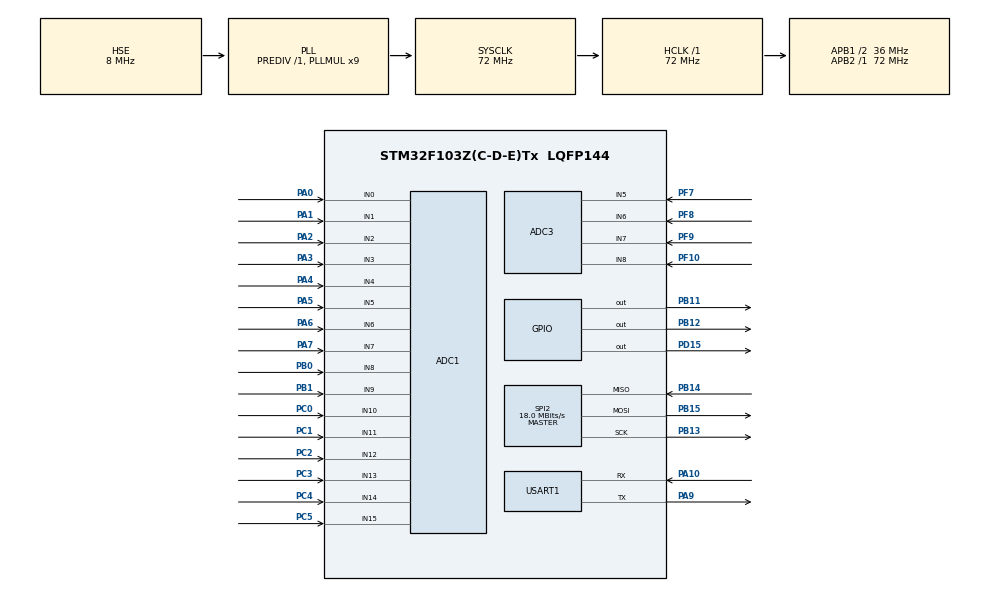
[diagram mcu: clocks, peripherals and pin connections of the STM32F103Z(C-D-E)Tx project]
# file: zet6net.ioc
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Mcu.Family=STM32F1
ADC1.Rank-14\#ChannelRegularConversion=15
Dma.ADC3.0.Priority=DMA_PRIORITY_LOW
Dma.ADC1.1.MemDataAlignment=DMA_MDATAALIGN_BYTE
SPI2.VirtualType=VM_MASTER
ADC1.ContinuousConvMode=ENABLE
ADC3.Channel-3\#ChannelRegularConversion=ADC_CHANNEL_8
SH.ADCx_IN2.0=ADC1_IN2,IN2
ADC1.SamplingTime-6\#ChannelRegularConversion=ADC_SAMPLETIME_1CYCLE_5
PB11.Signal=GPIO_Output
ADC1.SamplingTime-12\#ChannelRegularConversion=ADC_SAMPLETIME_1CYCLE_5
PB13.Signal=SPI2_SCK
PB15.Signal=SPI2_MOSI
ADC3.Channel-0\#ChannelRegularConversion=ADC_CHANNEL_5
ADC1.Channel-14\#ChannelRegularConversion=ADC_CHANNEL_14
ADC1.Channel-8\#ChannelRegularConversion=ADC_CHANNEL_8
ADC3.Rank-2\#ChannelRegularConversion=3
RCC.SYSCLKSource=RCC_SYSCLKSOURCE_PLLCLK
ProjectManager.StackSize=0x400
ADC1.Channel-5\#ChannelRegularConversion=ADC_CHANNEL_5
PF7.Signal=ADC3_IN5
Dma.ADC1.1.Instance=DMA1_Channel1
ADC1.Rank-11\#ChannelRegularConversion=12
ADC1.Channel-3\#ChannelRegularConversion=ADC_CHANNEL_3
RCC.HCLKFreq_Value=72000000
SH.ADCx_IN3.0=ADC1_IN3,IN3
RCC.APB2TimFreq_Value=72000000
Dma.ADC3.0.Direction=DMA_PERIPH_TO_MEMORY
ADC1.Channel-2\#ChannelRegularConversion=ADC_CHANNEL_2
Dma.ADC1.1.PeriphDataAlignment=DMA_PDATAALIGN_HALFWORD
PC3.Signal=ADCx_IN13
OSC_OUT.Mode=HSE-External-Oscillator
Dma.ADC3.0.MemDataAlignment=DMA_MDATAALIGN_BYTE
OSC_OUT.Signal=RCC_OSC_OUT
RCC.AHBFreq_Value=72000000
ADC3.SamplingTime-1\#ChannelRegularConversion=ADC_SAMPLETIME_1CYCLE_5
ADC1.Channel-0\#ChannelRegularConversion=ADC_CHANNEL_0
ADC3.SamplingTime-2\#ChannelRegularConversion=ADC_SAMPLETIME_1CYCLE_5
SH.ADCx_IN15.0=ADC1_IN15,IN15
RCC.PLLMUL=RCC_PLL_MUL9
Dma.ADC3.0.PeriphInc=DMA_PINC_DISABLE
ADC1.SamplingTime-4\#ChannelRegularConversion=ADC_SAMPLETIME_1CYCLE_5
ADC1.Channel-6\#ChannelRegularConversion=ADC_CHANNEL_6
ADC1.Rank-2\#ChannelRegularConversion=3
PF9.Mode=IN7
PA14.Mode=Serial_Wire
PB14.Mode=Full_Duplex_Master
ADC3.ContinuousConvMode=ENABLE
Dma.ADC1.1.Priority=DMA_PRIORITY_LOW
SH.ADCx_IN8.0=ADC1_IN8,IN8
SPI2.CalculateBaudRate=18.0 MBits/s
Dma.ADC3.0.MemInc=DMA_MINC_ENABLE
Dma.ADC1.1.Mode=DMA_CIRCULAR
PF8.Mode=IN6
SH.ADCx_IN0.0=ADC1_IN0,IN0
ADC3.Channel-2\#ChannelRegularConversion=ADC_CHANNEL_7
ADC1.Channel-15\#ChannelRegularConversion=ADC_CHANNEL_15
ADC1.SamplingTime-0\#ChannelRegularConversion=ADC_SAMPLETIME_1CYCLE_5
ADC1.Rank-15\#ChannelRegularConversion=16
Mcu.Package=LQFP144
ADC1.SamplingTime-11\#ChannelRegularConversion=ADC_SAMPLETIME_1CYCLE_5
PB1.Signal=ADCx_IN9
PA6.Signal=ADCx_IN6
SPI2.Mode=SPI_MODE_MASTER
SH.ADCx_IN14.0=ADC1_IN14,IN14
Dma.ADC1.1.Direction=DMA_PERIPH_TO_MEMORY
ADC1.SamplingTime-13\#ChannelRegularConversion=ADC_SAMPLETIME_1CYCLE_5
ADC1.Channel-11\#ChannelRegularConversion=ADC_CHANNEL_11
Dma.ADC1.1.MemInc=DMA_MINC_ENABLE
ADC3.Rank-0\#ChannelRegularConversion=1
PA10.Signal=USART1_RX
PF8.Signal=ADC3_IN6
SH.ADCx_IN9.0=ADC1_IN9,IN9
SH.ADCx_IN1.0=ADC1_IN1,IN1
ADC1.SamplingTime-15\#ChannelRegularConversion=ADC_SAMPLETIME_1CYCLE_5
Dma.Request1=ADC1
RCC.APB1TimFreq_Value=72000000
Dma.ADC3.0.Instance=DMA2_Channel5
SPI2.Direction=SPI_DIRECTION_2LINES
PC5.Signal=ADCx_IN15
PF10.Mode=IN8
PB13.Mode=Full_Duplex_Master
NVIC.DMA2_Channel4_5_IRQn=true\:0\:0\:false\:false\:true\:false\:true
ADC1.Rank-6\#ChannelRegularConversion=7
Dma.Request0=ADC3
ADC1.SamplingTime-8\#ChannelRegularConversion=ADC_SAMPLETIME_1CYCLE_5
PD15.Signal=GPIO_Output
ADC1.Rank-4\#ChannelRegularConversion=5
PA3.Signal=ADCx_IN3
ADC1.Channel-10\#ChannelRegularConversion=ADC_CHANNEL_10
RCC.PLLSourceVirtual=RCC_PLLSOURCE_HSE
ADC3.SamplingTime-3\#ChannelRegularConversion=ADC_SAMPLETIME_1CYCLE_5
SH.ADCx_IN13.0=ADC1_IN13,IN13
ADC1.Rank-0\#ChannelRegularConversion=1
ADC1.Channel-4\#ChannelRegularConversion=ADC_CHANNEL_4
PA10.Mode=Asynchronous
ADC1.Rank-10\#ChannelRegularConversion=11
SH.ADCx_IN6.0=ADC1_IN6,IN6
ADC1.Rank-8\#ChannelRegularConversion=9
PC4.Signal=ADCx_IN14
PC2.Signal=ADCx_IN12
ADC1.Channel-13\#ChannelRegularConversion=ADC_CHANNEL_13
PC0.Signal=ADCx_IN10
ADC3.Rank-3\#ChannelRegularConversion=4
RCC.APB1CLKDivider=RCC_HCLK_DIV2
ADC1.SamplingTime-2\#ChannelRegularConversion=ADC_SAMPLETIME_1CYCLE_5
PA0-WKUP.Signal=ADCx_IN0
ADC1.Channel-7\#ChannelRegularConversion=ADC_CHANNEL_7
RCC.ADCPresc=RCC_ADCPCLK2_DIV6
PA13.Signal=SYS_JTMS-SWDIO
PF7.Mode=IN5
ADC1.Rank-13\#ChannelRegularConversion=14
PA9.Mode=Asynchronous
SH.ADCx_IN12.0=ADC1_IN12,IN12
ADC3.SamplingTime-0\#ChannelRegularConversion=ADC_SAMPLETIME_1CYCLE_5
ProjectManager.TargetToolchain=STM32CubeIDE
SH.ADCx_IN7.0=ADC1_IN7,IN7
PA9.Signal=USART1_TX
ADC1.Channel-1\#ChannelRegularConversion=ADC_CHANNEL_1
OSC_IN.Signal=RCC_OSC_IN
RCC.USBFreq_Value=72000000
ADC3.NbrOfConversion=4
PA1.Signal=ADCx_IN1
PB14.Signal=SPI2_MISO
PA5.Signal=ADCx_IN5
board=custom
ADC1.Rank-12\#ChannelRegularConversion=13
PB15.Mode=Full_Duplex_Master
ADC1.SamplingTime-14\#ChannelRegularConversion=ADC_SAMPLETIME_1CYCLE_5
ADC1.Channel-12\#ChannelRegularConversion=ADC_CHANNEL_12
RCC.APB2Freq_Value=72000000
SH.ADCx_IN11.0=ADC1_IN11,IN11
PF10.Signal=ADC3_IN8
SH.ADCx_IN4.0=ADC1_IN4,IN4
Dma.ADC1.1.PeriphInc=DMA_PINC_DISABLE
ADC1.SamplingTime-10\#ChannelRegularConversion=ADC_SAMPLETIME_1CYCLE_5
ADC1.Rank-9\#ChannelRegularConversion=10
ADC1.NbrOfConversion=16
PA13.Mode=Serial_Wire
Mcu.Name=STM32F103Z(C-D-E)Tx
Dma.ADC3.0.PeriphDataAlignment=DMA_PDATAALIGN_HALFWORD
ADC3.Channel-1\#ChannelRegularConversion=ADC_CHANNEL_6
PA2.Signal=ADCx_IN2
ADC1.Channel-9\#ChannelRegularConversion=ADC_CHANNEL_9
ADC3.Rank-1\#ChannelRegularConversion=2
PA4.Signal=ADCx_IN4
ADC1.SamplingTime-1\#ChannelRegularConversion=ADC_SAMPLETIME_1CYCLE_5
RCC.SYSCLKFreq_VALUE=72000000
ADC1.master=1
ADC1.Rank-3\#ChannelRegularConversion=4
ADC1.SamplingTime-3\#ChannelRegularConversion=ADC_SAMPLETIME_1CYCLE_5
OSC_IN.Mode=HSE-External-Oscillator
USART1.VirtualMode=VM_ASYNC
ADC1.Rank-1\#ChannelRegularConversion=2
PA14.Signal=SYS_JTCK-SWCLK
SH.ADCx_IN10.0=ADC1_IN10,IN10
ProjectManager.HeapSize=0x200
Dma.ADC3.0.Mode=DMA_CIRCULAR
ADC1.SamplingTime-5\#ChannelRegularConversion=ADC_SAMPLETIME_1CYCLE_5
PF9.Signal=ADC3_IN7
SH.ADCx_IN5.0=ADC1_IN5,IN5
ADC1.Rank-7\#ChannelRegularConversion=8
NVIC.PriorityGroup=NVIC_PRIORITYGROUP_4
ADC1.NbrOfConversionFlag=1
ADC1.SamplingTime-9\#ChannelRegularConversion=ADC_SAMPLETIME_1CYCLE_5
ADC1.SamplingTime-7\#ChannelRegularConversion=ADC_SAMPLETIME_1CYCLE_5
NVIC.DMA1_Channel1_IRQn=true\:0\:0\:false\:false\:true\:false\:true
RCC.APB1Freq_Value=36000000
ADC3.NbrOfConversionFlag=1
PB0.Signal=ADCx_IN8
ADC1.Rank-5\#ChannelRegularConversion=6
PC1.Signal=ADCx_IN11
PB12.Signal=GPIO_Output
PA7.Signal=ADCx_IN7

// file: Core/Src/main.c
/* USER CODE BEGIN Header */
/**
  ******************************************************************************
  * @file           : main.c
  * @brief          : Main program body
  ******************************************************************************
  * @attention
  *
  * <h2><center>&copy; Copyright (c) 2020 STMicroelectronics.
  * All rights reserved.</center></h2>
  *
  * This software component is licensed by ST under BSD 3-Clause license,
  * the "License"; You may not use this file except in compliance with the
  * License. You may obtain a copy of the License at:
  *                        opensource.org/licenses/BSD-3-Clause
  *
  ******************************************************************************
  */
/* USER CODE END Header */
#include "main.h"
#include "adc.h"
#include "dma.h"
#include "spi.h"
#include "usart.h"
#include "gpio.h"

/* USER CODE BEGIN Includes */
#include "stdio.h"

//#include "bsp_dht21.h"
#include "stdio.h"
#include "w5500.h"
#include "socket.h"
#include "wizchip_conf.h"
#include "loopback.h"

/* USER CODE END Includes */

/* USER CODE BEGIN PD */

enum
{
  TRANSFER_WAIT,
  TRANSFER_COMPLETE,
  TRANSFER_ERROR
};
/* USER CODE END PD */

/* USER CODE BEGIN PM */
wiz_NetInfo gWIZNETINFO = { .mac = {0x00, 0x01, 0x02, 0x03, 0x04, 0x05},
                            .ip = {192, 168, 1, 88},
                            .sn = {255, 255, 255, 0},
                            .gw = {192, 168, 1, 1},
                            .dns = {8, 8, 8, 8},
                            .dhcp = NETINFO_STATIC };

uint8_t gDATABUF[2048];
/* USER CODE END PM */

/* USER CODE BEGIN PV */
uint16_t ADC_Receive_array[41];
uint8_t Spi_Buff[82];
uint8_t j,k;
void W5500_Select(void);
void W5500_Unselect(void);
void W5500_ReadBuff(uint8_t* buff, uint16_t len);
void W5500_WriteBuff(uint8_t* buff, uint16_t len);
uint8_t W5500_ReadByte(void);
void W5500_WriteByte(uint8_t byte);
void network_init(void);

#define COUNTOF(__BUFFER__)   (sizeof(__BUFFER__) / sizeof(*(__BUFFER__)))

#define BUFFERSIZE                       (COUNTOF(aTxBuffer) - 1)

/* Buffer used for transmission */
uint8_t aTxBuffer[82] ;

/* Buffer used for reception */
uint8_t aRxBuffer[81];

/* transfer state */
__IO uint32_t wTransferState = TRANSFER_WAIT;

#define SOCK_TCPS        0
#define SOCK_UDPS        1
/* USER CODE END PV */

void SystemClock_Config(void);
/* USER CODE BEGIN PFP */
void W5500_Select(void) {
  HAL_GPIO_WritePin(GPIOB, GPIO_PIN_12, GPIO_PIN_RESET);
}

void W5500_Unselect(void) {
  HAL_GPIO_WritePin(GPIOB, GPIO_PIN_12, GPIO_PIN_SET);
}

void W5500_ReadBuff(uint8_t* buff, uint16_t len) {
  HAL_SPI_Receive(&hspi2, buff, len, HAL_MAX_DELAY);
}

void W5500_WriteBuff(uint8_t* buff, uint16_t len) {
}

uint8_t W5500_ReadByte(void) {
  uint8_t byte;
  W5500_ReadBuff(&byte, sizeof(byte));
  return byte;
}

void W5500_WriteByte(uint8_t byte) {
  W5500_WriteBuff(&byte, sizeof(byte));
}

void network_init(void)
{
  uint8_t tmpstr[6];
  ctlnetwork(CN_SET_NETINFO, (void*)&gWIZNETINFO);
  ctlnetwork(CN_GET_NETINFO, (void*)&gWIZNETINFO);

  // Display Network Information
  ctlwizchip(CW_GET_ID,(void*)tmpstr);
  printf("\r\n=== %s NET CONF ===\r\n",(char*)tmpstr);
  printf("MAC: %02X:%02X:%02X:%02X:%02X:%02X\r\n",gWIZNETINFO.mac[0],gWIZNETINFO.mac[1],gWIZNETINFO.mac[2],gWIZNETINFO.mac[3],gWIZNETINFO.mac[4],gWIZNETINFO.mac[5]);
  printf("SIP: %d.%d.%d.%d\r\n", gWIZNETINFO.ip[0],gWIZNETINFO.ip[1],gWIZNETINFO.ip[2],gWIZNETINFO.ip[3]);
  printf("GAR: %d.%d.%d.%d\r\n", gWIZNETINFO.gw[0],gWIZNETINFO.gw[1],gWIZNETINFO.gw[2],gWIZNETINFO.gw[3]);
  printf("SUB: %d.%d.%d.%d\r\n", gWIZNETINFO.sn[0],gWIZNETINFO.sn[1],gWIZNETINFO.sn[2],gWIZNETINFO.sn[3]);
  printf("DNS: %d.%d.%d.%d\r\n", gWIZNETINFO.dns[0],gWIZNETINFO.dns[1],gWIZNETINFO.dns[2],gWIZNETINFO.dns[3]);
  printf("======================\r\n");
}
/* USER CODE END PFP */

/* USER CODE BEGIN 0 */
#ifdef __GNUC__
#define PUTCHAR_PROTOTYPE int __io_putchar(int ch)
#else
#define PUTCHAR_PROTOTYPE int fputc(int ch, FILE *f)
#endif
PUTCHAR_PROTOTYPE
{
  HAL_UART_Transmit(&huart1, (uint8_t *)&ch, 1, 0xFFFF);
  return ch;
}
//static uint16_t Buffercmp(uint8_t *pBuffer1, uint8_t *pBuffer2, uint16_t BufferLength);
/* USER CODE END 0 */

int main(void)
{
  /* USER CODE BEGIN 1 */
	uint8_t tmp;
  int32_t retr = 0;
  uint8_t memsize[2][8] = {{2,2,2,2,2,2,2,2},{2,2,2,2,2,2,2,2}};

  /* USER CODE END 1 */

  /* MCU Configuration--------------------------------------------------------*/

  /* Reset of all peripherals, Initializes the Flash interface and the Systick. */
  HAL_Init();

  /* USER CODE BEGIN Init */
//  Spi_Buff[]=0;
  /* USER CODE END Init */

  /* Configure the system clock */
  SystemClock_Config();

  /* Initialize all configured peripherals */
  MX_GPIO_Init();
  MX_DMA_Init();
  MX_USART1_UART_Init();
  MX_SPI2_Init();
  MX_ADC1_Init();
  MX_ADC3_Init();
  /* USER CODE BEGIN 2 */
  /*##-1- Start the Full Duplex Communication process ############
   * ############*/
  /* While the SPI in TransmitReceive process, user can transmit data through
     "aTxBuffer" buffer & receive data through "aRxBuffer" */
//  printf("y1");

    reg_wizchip_cs_cbfunc(W5500_Select, W5500_Unselect);
    reg_wizchip_spi_cbfunc(W5500_ReadByte, W5500_WriteByte);
    reg_wizchip_spiburst_cbfunc(W5500_ReadBuff, W5500_WriteBuff);

    /* WIZCHIP SOCKET Buffer initialize */
    if(ctlwizchip(CW_INIT_WIZCHIP,(void*)memsize) == -1)
    {
       printf("WIZCHIP Initialized fail.\r\n");
       while(1);
    }

    /* PHY link status check */
    do
    {
       if(ctlwizchip(CW_GET_PHYLINK, (void*)&tmp) == -1)
          printf("Unknown PHY Link stauts.\r\n");
    }while(tmp == PHY_LINK_OFF);
  	printf("SOCKET ERROR =1");
    network_init();

//  HAL_SPI_Receive_IT(&hspi1,(uint8_t *)Spi_Buff,sizeof((uint8_t *)Spi_Buff));
  /* USER CODE END 2 */

  /* Infinite loop */
  /* USER CODE BEGIN WHILE */
  while (1)
  {
//  printf("init7 \r\n");

//	  ,HAL_MAX_DELAY
//	  HAL_SPI_Receive_DMA(&hspi1,(uint8_t *)Spi_Buff,sizeof(Spi_Buff));

//	  HAL_SPI_Receive_IT(&hspi1,(uint8_t *)Spi_Buff,sizeof(Spi_Buff));

//	  printf("size = %d \r\n", sizeof(Spi_Buff));_DMA
//      for (j = 0; j < 82; j++)
//      {
//        printf("SPIbuffer[%d] = %d \r\n", j, Spi_Buff[j]);
//        HAL_Delay(1);
//      }
//	  HAL_Delay(900);

//
//	  for (j = 0,k=0; j < 41; j++,k=k+2){
//		  ADC_Receive_array[j]= (uint16_t)(Spi_Buff[k+1]<<8)|Spi_Buff[k];
//		  printf("ADC_Receive_array[%d] = %d \r\n", j, ADC_Receive_array[j]);
//	  }

//	  if (HAL_SPI_TransmitReceive_DMA(&hspi1, (uint8_t *)aTxBuffer, (uint8_t *)aRxBuffer, BUFFERSIZE) != HAL_OK)
//	    {
//	      /* Transfer error in transmission process */
//	  	  printf("no1");
//	      Error_Handler();
//	    }
//
//	    /*##-2- Wait for the end of the transfer ###################################*/
//	    /*  Before starting a new communication transfer, you must wait the callback call
//	        to get the transfer complete confirmation or an error detection.
//	        For simplicity reasons, this example is just waiting till the end of the
//	        transfer, but application may perform other tasks while transfer operation
//	        is ongoing. */
//	    while (wTransferState == TRANSFER_WAIT)
//	    {printf("wait");
//	    }
//	    for (j = 0; j < 5; j++)
//	    {
//	      printf("SPIbuffer[%d] = %d \r\n", j, aRxBuffer[j]);
//	      HAL_Delay(1);
//	    }
//	    HAL_Delay(500);
//	    switch (wTransferState)
//	    {
//	      case TRANSFER_COMPLETE :
//	        /*##-3- Compare the sent and received buffers ##############################*/
//	        if (Buffercmp((uint8_t *)aTxBuffer, (uint8_t *)aRxBuffer, BUFFERSIZE))
//	        {printf("\n translate");
//	          /* Processing Error */
//	          Error_Handler();
//	        }
//	        break;
//	      default :
//	        Error_Handler();
//	        break;
//	    }
//	          for (j = 0; j < 5; j++)
//	          {
//	            printf("SPIbuffer[%d] = %d \r\n", j, aRxBuffer[j]);
//	            HAL_Delay(1);
//	          }
//	          HAL_Delay(500);
	  		if( (retr = loopback_udps(SOCK_UDPS, gDATABUF, 3000)) < 0) {
	  			printf("SOCKET ERROR : %ld\r\n", retr);
	  		}

	      //	  HAL_SPI_Receive_DMA(&hspi1, (uint16_t *)ADC_Receive_array,41);
	      //	  	      for (j = 0; j < 41; j++)
	      //	  	      {
	      //	  	        printf("ADC_Receive_array[%d] = %ld \r\n", j, ADC_Receive_array[j]);
	      //	  	        HAL_Delay(10);
	      //	  	      }
	      //	  	      HAL_Delay(550);

	      //	  HAL_SPI_Receive_DMA(&hspi1,(uint8_t *)Spi_Buff,82);
    /* USER CODE END WHILE */

  }
}

void SystemClock_Config(void)
{
  RCC_OscInitTypeDef RCC_OscInitStruct = {0};
  RCC_ClkInitTypeDef RCC_ClkInitStruct = {0};
  RCC_PeriphCLKInitTypeDef PeriphClkInit = {0};

  /** Initializes the RCC Oscillators according to the specified parameters
  * in the RCC_OscInitTypeDef structure.
  */
  RCC_OscInitStruct.OscillatorType = RCC_OSCILLATORTYPE_HSE;
  RCC_OscInitStruct.HSEState = RCC_HSE_ON;
  RCC_OscInitStruct.HSEPredivValue = RCC_HSE_PREDIV_DIV1;
  RCC_OscInitStruct.HSIState = RCC_HSI_ON;
  RCC_OscInitStruct.PLL.PLLState = RCC_PLL_ON;
  RCC_OscInitStruct.PLL.PLLSource = RCC_PLLSOURCE_HSE;
  RCC_OscInitStruct.PLL.PLLMUL = RCC_PLL_MUL9;
  if (HAL_RCC_OscConfig(&RCC_OscInitStruct) != HAL_OK)
  {
    Error_Handler();
  }
  /** Initializes the CPU, AHB and APB buses clocks
  */
  RCC_ClkInitStruct.ClockType = RCC_CLOCKTYPE_HCLK|RCC_CLOCKTYPE_SYSCLK
                              |RCC_CLOCKTYPE_PCLK1|RCC_CLOCKTYPE_PCLK2;
  RCC_ClkInitStruct.SYSCLKSource = RCC_SYSCLKSOURCE_PLLCLK;
  RCC_ClkInitStruct.AHBCLKDivider = RCC_SYSCLK_DIV1;
  RCC_ClkInitStruct.APB1CLKDivider = RCC_HCLK_DIV2;
  RCC_ClkInitStruct.APB2CLKDivider = RCC_HCLK_DIV1;

  if (HAL_RCC_ClockConfig(&RCC_ClkInitStruct, FLASH_LATENCY_2) != HAL_OK)
  {
    Error_Handler();
  }
  PeriphClkInit.PeriphClockSelection = RCC_PERIPHCLK_ADC;
  PeriphClkInit.AdcClockSelection = RCC_ADCPCLK2_DIV6;
  if (HAL_RCCEx_PeriphCLKConfig(&PeriphClkInit) != HAL_OK)
  {
    Error_Handler();
  }
}

/* USER CODE BEGIN 4 */
//void HAL_SPI_RxCpltCallback(SPI_HandleTypeDef *hspi)
//{
//	if (hspi == &hspi1)
//	{
//		HAL_SPI_Transmit(&hspi1,(uint8_t *)Spi_Buff, sizeof((uint8_t *)Spi_Buff), 0xFFFF);
//		HAL_SPI_Receive_IT(&hspi1, (uint8_t *)Spi_Buff, sizeof((uint8_t *)Spi_Buff));
//	}
//}
//

//void HAL_SPI_RxCpltCallback(SPI_HandleTypeDef *hspi)
//{
//	if (hspi == &hspi1)
//	{
//		HAL_SPI_Transmit(&hspi1, (uint8_t *)Spi_Buff, sizeof((uint8_t *)Spi_Buff), 0xFFFF);
//		HAL_SPI_Receive_IT(&hspi1, (uint8_t *)Spi_Buff, sizeof((uint8_t *)Spi_Buff));
//	}
//}
//void HAL_SPI_TxRxCpltCallback(SPI_HandleTypeDef *hspi)
//{
//  /* Turn LED1 on: Transfer in transmission process is complete */
////  BSP_LED_On(LED1);
//  /* Turn LED2 on: Transfer in reception process is complete */
////  BSP_LED_On(LED2);
//  wTransferState = TRANSFER_COMPLETE;
//}

/**
  * @brief  SPI error callbacks.
  * @param  hspi: SPI handle
  * @note   This example shows a simple way to report transfer error, and you can
  *         add your own implementation.
  * @retval None
  */
//void HAL_SPI_ErrorCallback(SPI_HandleTypeDef *hspi)
//{
//  wTransferState = TRANSFER_ERROR;
//}
//
///**
//  * @brief  Compares two buffers.
//  * @param  pBuffer1, pBuffer2: buffers to be compared.
//  * @param  BufferLength: buffer's length
//  * @retval 0  : pBuffer1 identical to pBuffer2
//  *         >0 : pBuffer1 differs from pBuffer2
//  */
//static uint16_t Buffercmp(uint8_t *pBuffer1, uint8_t *pBuffer2, uint16_t BufferLength)
//{
//  while (BufferLength--)
//  {
//    if ((*pBuffer1) != *pBuffer2)
//    {
//      return BufferLength;
//    }
//    pBuffer1++;
//    pBuffer2++;
//  }
//
//  return 0;
//}
/* USER CODE END 4 */

void Error_Handler(void)
{
  /* USER CODE BEGIN Error_Handler_Debug */
  /* User can add his own implementation to report the HAL error return state */
//	printf("no");
  /* USER CODE END Error_Handler_Debug */
}

/************************ (C) COPYRIGHT STMicroelectronics *****END OF FILE****/
